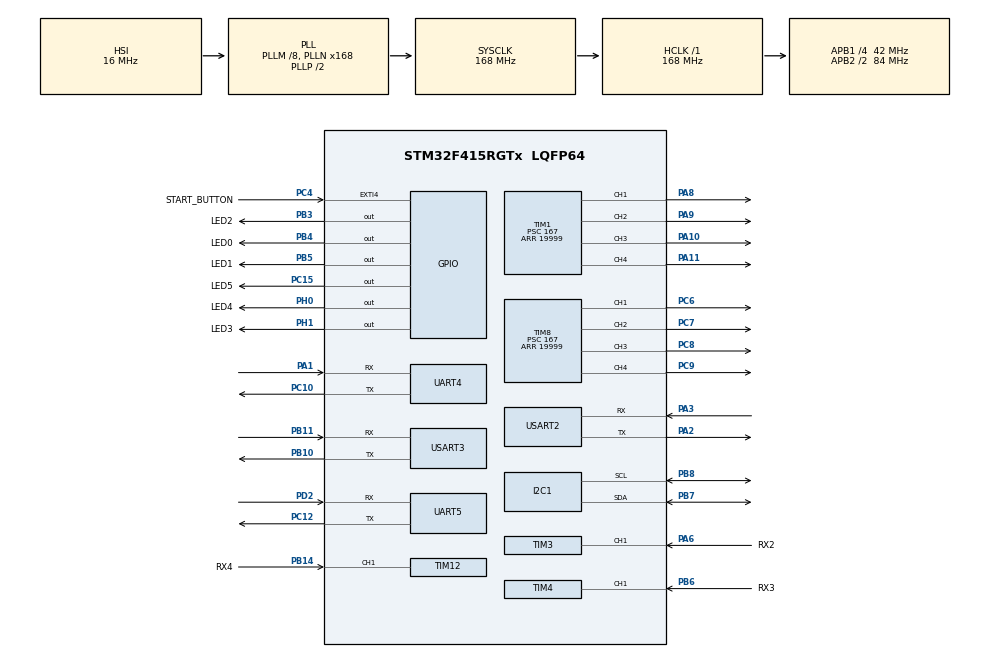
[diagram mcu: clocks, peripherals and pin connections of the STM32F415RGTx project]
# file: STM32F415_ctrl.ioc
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Dma.Request0=USART3_RX
Dma.Request1=USART3_TX
Dma.Request2=UART5_RX
Dma.Request3=UART5_TX
Dma.Request4=UART4_RX
Dma.Request5=UART4_TX
Dma.Request6=USART2_RX
Dma.Request7=USART2_TX
Dma.UART4_RX.4.Direction=DMA_PERIPH_TO_MEMORY
Dma.UART4_RX.4.FIFOMode=DMA_FIFOMODE_DISABLE
Dma.UART4_RX.4.Instance=DMA1_Stream2
Dma.UART4_RX.4.MemDataAlignment=DMA_MDATAALIGN_BYTE
Dma.UART4_RX.4.MemInc=DMA_MINC_ENABLE
Dma.UART4_RX.4.Mode=DMA_CIRCULAR
Dma.UART4_RX.4.PeriphDataAlignment=DMA_PDATAALIGN_BYTE
Dma.UART4_RX.4.PeriphInc=DMA_PINC_DISABLE
Dma.UART4_RX.4.Priority=DMA_PRIORITY_LOW
Dma.UART4_TX.5.Direction=DMA_MEMORY_TO_PERIPH
Dma.UART4_TX.5.FIFOMode=DMA_FIFOMODE_DISABLE
Dma.UART4_TX.5.Instance=DMA1_Stream4
Dma.UART4_TX.5.MemDataAlignment=DMA_MDATAALIGN_BYTE
Dma.UART4_TX.5.MemInc=DMA_MINC_ENABLE
Dma.UART4_TX.5.Mode=DMA_NORMAL
Dma.UART4_TX.5.PeriphDataAlignment=DMA_PDATAALIGN_BYTE
Dma.UART4_TX.5.PeriphInc=DMA_PINC_DISABLE
Dma.UART4_TX.5.Priority=DMA_PRIORITY_LOW
Dma.UART5_RX.2.Direction=DMA_PERIPH_TO_MEMORY
Dma.UART5_RX.2.FIFOMode=DMA_FIFOMODE_DISABLE
Dma.UART5_RX.2.Instance=DMA1_Stream0
Dma.UART5_RX.2.MemDataAlignment=DMA_MDATAALIGN_BYTE
Dma.UART5_RX.2.MemInc=DMA_MINC_ENABLE
Dma.UART5_RX.2.Mode=DMA_NORMAL
Dma.UART5_RX.2.PeriphDataAlignment=DMA_PDATAALIGN_BYTE
Dma.UART5_RX.2.PeriphInc=DMA_PINC_DISABLE
Dma.UART5_RX.2.Priority=DMA_PRIORITY_LOW
Dma.UART5_TX.3.Direction=DMA_MEMORY_TO_PERIPH
Dma.UART5_TX.3.FIFOMode=DMA_FIFOMODE_DISABLE
Dma.UART5_TX.3.Instance=DMA1_Stream7
Dma.UART5_TX.3.MemDataAlignment=DMA_MDATAALIGN_BYTE
Dma.UART5_TX.3.MemInc=DMA_MINC_ENABLE
Dma.UART5_TX.3.Mode=DMA_NORMAL
Dma.UART5_TX.3.PeriphDataAlignment=DMA_PDATAALIGN_BYTE
Dma.UART5_TX.3.PeriphInc=DMA_PINC_DISABLE
Dma.UART5_TX.3.Priority=DMA_PRIORITY_LOW
Dma.USART2_RX.6.Direction=DMA_PERIPH_TO_MEMORY
Dma.USART2_RX.6.FIFOMode=DMA_FIFOMODE_DISABLE
Dma.USART2_RX.6.Instance=DMA1_Stream5
Dma.USART2_RX.6.MemDataAlignment=DMA_MDATAALIGN_BYTE
Dma.USART2_RX.6.MemInc=DMA_MINC_ENABLE
Dma.USART2_RX.6.Mode=DMA_NORMAL
Dma.USART2_RX.6.PeriphDataAlignment=DMA_PDATAALIGN_BYTE
Dma.USART2_RX.6.PeriphInc=DMA_PINC_DISABLE
Dma.USART2_RX.6.Priority=DMA_PRIORITY_LOW
Dma.USART2_TX.7.Direction=DMA_MEMORY_TO_PERIPH
Dma.USART2_TX.7.FIFOMode=DMA_FIFOMODE_DISABLE
Dma.USART2_TX.7.Instance=DMA1_Stream6
Dma.USART2_TX.7.MemDataAlignment=DMA_MDATAALIGN_BYTE
Dma.USART2_TX.7.MemInc=DMA_MINC_ENABLE
Dma.USART2_TX.7.Mode=DMA_NORMAL
Dma.USART2_TX.7.PeriphDataAlignment=DMA_PDATAALIGN_BYTE
Dma.USART2_TX.7.PeriphInc=DMA_PINC_DISABLE
Dma.USART2_TX.7.Priority=DMA_PRIORITY_LOW
Dma.USART3_RX.0.Direction=DMA_PERIPH_TO_MEMORY
Dma.USART3_RX.0.FIFOMode=DMA_FIFOMODE_DISABLE
Dma.USART3_RX.0.Instance=DMA1_Stream1
Dma.USART3_RX.0.MemDataAlignment=DMA_MDATAALIGN_BYTE
Dma.USART3_RX.0.MemInc=DMA_MINC_ENABLE
Dma.USART3_RX.0.Mode=DMA_NORMAL
Dma.USART3_RX.0.PeriphDataAlignment=DMA_PDATAALIGN_BYTE
Dma.USART3_RX.0.PeriphInc=DMA_PINC_DISABLE
Dma.USART3_RX.0.Priority=DMA_PRIORITY_LOW
Dma.USART3_TX.1.Direction=DMA_MEMORY_TO_PERIPH
Dma.USART3_TX.1.FIFOMode=DMA_FIFOMODE_DISABLE
Dma.USART3_TX.1.Instance=DMA1_Stream3
Dma.USART3_TX.1.MemDataAlignment=DMA_MDATAALIGN_BYTE
Dma.USART3_TX.1.MemInc=DMA_MINC_ENABLE
Dma.USART3_TX.1.Mode=DMA_NORMAL
Dma.USART3_TX.1.PeriphDataAlignment=DMA_PDATAALIGN_BYTE
Dma.USART3_TX.1.PeriphInc=DMA_PINC_DISABLE
Dma.USART3_TX.1.Priority=DMA_PRIORITY_LOW
I2C1.I2C_Mode=I2C_Standard
Mcu.Family=STM32F4
Mcu.Name=STM32F415RGTx
Mcu.Package=LQFP64
NVIC.DMA1_Stream0_IRQn=true\:0\:0\:false\:false\:true\:false\:true
NVIC.DMA1_Stream1_IRQn=true\:0\:0\:false\:false\:true\:false\:true
NVIC.DMA1_Stream2_IRQn=true\:0\:0\:false\:false\:true\:false\:true
NVIC.DMA1_Stream3_IRQn=true\:0\:0\:false\:false\:true\:false\:true
NVIC.DMA1_Stream4_IRQn=true\:0\:0\:false\:false\:true\:false\:true
NVIC.DMA1_Stream5_IRQn=true\:0\:0\:false\:false\:true\:false\:true
NVIC.DMA1_Stream6_IRQn=true\:0\:0\:false\:false\:true\:false\:true
NVIC.DMA1_Stream7_IRQn=true\:0\:0\:false\:false\:true\:false\:true
NVIC.EXTI4_IRQn=true\:0\:0\:false\:false\:true\:true\:true
NVIC.PriorityGroup=NVIC_PRIORITYGROUP_4
NVIC.TIM1_BRK_TIM9_IRQn=true\:0\:0\:false\:false\:true\:true\:true
NVIC.TIM3_IRQn=true\:0\:0\:false\:false\:true\:true\:true
NVIC.TIM4_IRQn=true\:0\:0\:false\:false\:true\:true\:true
NVIC.TIM8_BRK_TIM12_IRQn=true\:0\:0\:false\:false\:true\:true\:true
NVIC.UART4_IRQn=true\:0\:0\:false\:false\:true\:true\:true
NVIC.UART5_IRQn=true\:0\:0\:false\:false\:true\:true\:true
NVIC.USART2_IRQn=true\:0\:0\:false\:false\:true\:true\:true
NVIC.USART3_IRQn=true\:0\:0\:false\:false\:true\:true\:true
PA1.Mode=Asynchronous
PA1.Signal=UART4_RX
PA10.Signal=S_TIM1_CH3
PA11.Signal=S_TIM1_CH4
PA13.Mode=Serial_Wire
PA13.Signal=SYS_JTMS-SWDIO
PA14.Mode=Serial_Wire
PA14.Signal=SYS_JTCK-SWCLK
PA2.Mode=Asynchronous
PA2.Signal=USART2_TX
PA3.Mode=Asynchronous
PA3.Signal=USART2_RX
PA6.GPIO_Label=RX2
PA6.Signal=S_TIM3_CH1
PA8.Signal=S_TIM1_CH1
PA9.Signal=S_TIM1_CH2
PB10.Mode=Asynchronous
PB10.Signal=USART3_TX
PB11.Mode=Asynchronous
PB11.Signal=USART3_RX
PB14.GPIO_Label=RX4
PB14.Signal=S_TIM12_CH1
PB3.GPIO_Label=LED2
PB3.GPIO_ModeDefaultOutputPP=GPIO_MODE_OUTPUT_OD
PB3.Signal=GPIO_Output
PB4.GPIO_Label=LED0
PB4.GPIO_ModeDefaultOutputPP=GPIO_MODE_OUTPUT_OD
PB4.Signal=GPIO_Output
PB5.GPIO_Label=LED1
PB5.GPIO_ModeDefaultOutputPP=GPIO_MODE_OUTPUT_OD
PB5.Signal=GPIO_Output
PB6.GPIO_Label=RX3
PB6.GPIO_PuPd=GPIO_PULLUP
PB6.Signal=S_TIM4_CH1
PB7.Mode=I2C
PB7.Signal=I2C1_SDA
PB8.Mode=I2C
PB8.Signal=I2C1_SCL
PC10.Mode=Asynchronous
PC10.Signal=UART4_TX
PC12.Mode=Asynchronous
PC12.Signal=UART5_TX
PC15-OSC32_OUT.GPIO_Label=LED5
PC15-OSC32_OUT.GPIO_ModeDefaultOutputPP=GPIO_MODE_OUTPUT_OD
PC15-OSC32_OUT.Signal=GPIO_Output
PC4.GPIO_Label=START_BUTTON
PC4.GPIO_ModeDefaultEXTI=GPIO_MODE_IT_RISING
PC4.GPIO_PuPd=GPIO_PULLUP
PC4.Signal=GPXTI4
PC6.Signal=S_TIM8_CH1
PC7.Signal=S_TIM8_CH2
PC8.Signal=S_TIM8_CH3
PC9.Signal=S_TIM8_CH4
PD2.Mode=Asynchronous
PD2.Signal=UART5_RX
PH0-OSC_IN.GPIO_Label=LED4
PH0-OSC_IN.GPIO_ModeDefaultOutputPP=GPIO_MODE_OUTPUT_OD
PH0-OSC_IN.Signal=GPIO_Output
PH1-OSC_OUT.GPIO_Label=LED3
PH1-OSC_OUT.GPIO_ModeDefaultOutputPP=GPIO_MODE_OUTPUT_OD
PH1-OSC_OUT.Signal=GPIO_Output
ProjectManager.HeapSize=0x200
ProjectManager.StackSize=0x400
ProjectManager.TargetToolchain=TrueSTUDIO
RCC.48MHZClocksFreq_Value=84000000
RCC.AHBFreq_Value=168000000
RCC.APB1CLKDivider=RCC_HCLK_DIV4
RCC.APB1Freq_Value=42000000
RCC.APB1TimFreq_Value=84000000
RCC.APB2CLKDivider=RCC_HCLK_DIV2
RCC.APB2Freq_Value=84000000
RCC.APB2TimFreq_Value=168000000
RCC.CortexFreq_Value=168000000
RCC.HCLKFreq_Value=168000000
RCC.HSE_VALUE=25000000
RCC.HSI_VALUE=16000000
RCC.LSE_VALUE=32768
RCC.PLLM=8
RCC.PLLN=168
RCC.SYSCLKFreq_VALUE=168000000
RCC.SYSCLKSource=RCC_SYSCLKSOURCE_PLLCLK
RCC.VCOOutputFreq_Value=336000000
SH.S_TIM12_CH1.0=TIM12_CH1,PWM_Input_1
SH.S_TIM1_CH1.0=TIM1_CH1,PWM Generation1 CH1
SH.S_TIM1_CH2.0=TIM1_CH2,PWM Generation2 CH2
SH.S_TIM1_CH3.0=TIM1_CH3,PWM Generation3 CH3
SH.S_TIM1_CH4.0=TIM1_CH4,PWM Generation4 CH4
SH.S_TIM3_CH1.0=TIM3_CH1,PWM_Input_1
SH.S_TIM4_CH1.0=TIM4_CH1,PWM_Input_1
SH.S_TIM8_CH1.0=TIM8_CH1,PWM Generation1 CH1
SH.S_TIM8_CH2.0=TIM8_CH2,PWM Generation2 CH2
SH.S_TIM8_CH3.0=TIM8_CH3,PWM Generation3 CH3
SH.S_TIM8_CH4.0=TIM8_CH4,PWM Generation4 CH4
TIM1.Channel-PWM\ Generation1\ CH1=TIM_CHANNEL_1
TIM1.Channel-PWM\ Generation2\ CH2=TIM_CHANNEL_2
TIM1.Channel-PWM\ Generation3\ CH3=TIM_CHANNEL_3
TIM1.Channel-PWM\ Generation4\ CH4=TIM_CHANNEL_4
TIM1.Period=19999
TIM1.Prescaler=167
TIM1.Pulse-PWM\ Generation1\ CH1=1500
TIM1.Pulse-PWM\ Generation2\ CH2=1500
TIM1.Pulse-PWM\ Generation3\ CH3=1500
TIM1.Pulse-PWM\ Generation4\ CH4=1500
TIM12.ICFilter_1=3
TIM12.ICFilter_2=3
TIM12.Period=0xffff
TIM12.Prescaler=83
TIM3.ICFilter_1=3
TIM3.ICFilter_2=3
TIM3.Period=0xffff
TIM3.Prescaler=83
TIM4.ICFilter_1=3
TIM4.ICFilter_2=3
TIM4.Period=0xffff
TIM4.Prescaler=839
TIM8.Channel-PWM\ Generation1\ CH1=TIM_CHANNEL_1
TIM8.Channel-PWM\ Generation2\ CH2=TIM_CHANNEL_2
TIM8.Channel-PWM\ Generation3\ CH3=TIM_CHANNEL_3
TIM8.Channel-PWM\ Generation4\ CH4=TIM_CHANNEL_4
TIM8.Period=19999
TIM8.Prescaler=167
TIM8.Pulse-PWM\ Generation1\ CH1=1500
TIM8.Pulse-PWM\ Generation2\ CH2=1500
TIM8.Pulse-PWM\ Generation3\ CH3=1500
TIM8.Pulse-PWM\ Generation4\ CH4=1500
UART4.VirtualMode=Asynchronous
UART5.VirtualMode=Asynchronous
USART2.VirtualMode=VM_ASYNC
USART3.VirtualMode=VM_ASYNC
VP_TIM12_VS_ClockSourceINT.Mode=Internal
VP_TIM1_VS_ClockSourceINT.Mode=Internal
VP_TIM3_VS_ClockSourceINT.Mode=Internal
VP_TIM4_VS_ClockSourceINT.Mode=Internal
VP_TIM8_VS_ClockSourceINT.Mode=Internal
board=custom

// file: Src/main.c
/* USER CODE BEGIN Header */
/**
  ******************************************************************************
  * @file           : main.c
  * @brief          : Main program body
  ******************************************************************************
  * @attention
  *
  * <h2><center>&copy; Copyright (c) 2019 STMicroelectronics.
  * All rights reserved.</center></h2>
  *
  * This software component is licensed by ST under BSD 3-Clause license,
  * the "License"; You may not use this file except in compliance with the
  * License. You may obtain a copy of the License at:
  *                        opensource.org/licenses/BSD-3-Clause
  *
  ******************************************************************************
  */

// WIRING INPUT
// SERIAL3 = LiD (UART3, RX only, DMA RX Normal, note : pin TX damaged)
// SERIAL4 = TX&RX from NVIDIA AI (UART4, DMA RX Circular, DMA TX normal)
// SERIAL5 = LiG (UART5, RX only, DMA RX Normal)
// RC1 = n/c
// RC2 = DIR from RX (TIM3 CH1 PWM input capture)
// RC4 = THR from RX (TIM12 CH1 PWM input capture)

// WIRING OUTPUT
// SERVO5 (HW=TIM8 CH1) = THR
// SERVO6 (HW=TIM8 CH2) = DIR
// SERVO7 (HW=TIM8 CH3) = DIR

// MMI
// LED0 (HW=D2)
// LED1 (HW=D1) = MANUAL/AUTO state
// LED2 (HW=D3)
// LED3 (HW=D4)
// LED4 (HW=D5) = AI state
// LED5 (HW=D6) = RC state

/* USER CODE END Header */

#include "main.h"

/* USER CODE BEGIN Includes */
#include "serial.h"
#include "tfminiplus.h"
#include "stdio.h"
#include "string.h"
#include <stdlib.h>     /* atoi */
#include "imu.h"
/* USER CODE END Includes */

I2C_HandleTypeDef hi2c1;

TIM_HandleTypeDef htim1;
TIM_HandleTypeDef htim3;
TIM_HandleTypeDef htim4;
TIM_HandleTypeDef htim8;
TIM_HandleTypeDef htim12;

UART_HandleTypeDef huart4;
UART_HandleTypeDef huart5;
UART_HandleTypeDef huart2;
UART_HandleTypeDef huart3;
DMA_HandleTypeDef hdma_uart4_rx;
DMA_HandleTypeDef hdma_uart4_tx;
DMA_HandleTypeDef hdma_uart5_rx;
DMA_HandleTypeDef hdma_uart5_tx;
DMA_HandleTypeDef hdma_usart2_rx;
DMA_HandleTypeDef hdma_usart2_tx;
DMA_HandleTypeDef hdma_usart3_rx;
DMA_HandleTypeDef hdma_usart3_tx;

/* USER CODE BEGIN PV */
static HAL_Serial_Handler ai_com;
static uint32_t RC1_last_time = 0;
static uint32_t RC1_period = 0;
static uint32_t RC1_duty_cycle = 0;
static uint32_t RC2_last_time = 0;
static uint32_t RC2_period = 0;
static uint32_t RC2_duty_cycle = 0;
static uint32_t RC4_last_time = 0;
static uint32_t RC4_period = 0;
static uint32_t RC4_duty_cycle = 0;
static char com_line[32];
static uint32_t com_position = 0;
static uint32_t com_last_time = 0;
static uint32_t pwm_manual_thr = 1500;
static uint32_t pwm_manual_dir = 1500;
static uint32_t pwm_ai_thr = 1500;
static uint32_t pwm_ai_dir = 1500;
static uint32_t ai_mode = 0; // 0:idle, 1:running
static uint32_t pwm_auto_thr = 1500;
static uint32_t pwm_auto_dir = 1500;
enum {MAIN_STATE_MANUAL, MAIN_STATE_AUTO_REQUEST, MAIN_STATE_AUTO_STARTUP, MAIN_STATE_AUTO };
static uint32_t main_state = MAIN_STATE_MANUAL;
static uint32_t main_state_last = 0;
#define MANUAL_OVERRIDE_TIMEOUT 2000 //ms
enum {RC_STATE_NONE,RC_STATE_OK};
static uint32_t rc_state = RC_STATE_NONE;
#define RC_TIMEOUT 500 //ms
enum {AI_STATE_NONE,AI_STATE_OK};
static uint32_t ai_state = AI_STATE_NONE;
#define AI_TIMEOUT 100 //ms
enum {LIDAR_STATE_NONE,LIDAR_STATE_OK};
static uint32_t lidar_state = LIDAR_STATE_NONE;
#define LIDAR_TIMEOUT 100 //ms
static uint32_t telemetry_stop_and_wait = 0; // stop = 0, query last value = 1
static int32_t lidar_distance_gauche = -1; // cm
static int32_t lidar_distance_droit = -1;
static int32_t lidar_distance_haut = -1;
static int32_t lidar_strength_gauche = -1;
static int32_t lidar_strength_droit = -1;
static int32_t lidar_strength_haut = -1;
static int32_t lidar_temp_gauche = -1;
static int32_t lidar_temp_droit = -1;
static int32_t lidar_temp_haut = -1;
static int32_t vitesse_mesuree = -1;
static int32_t start_countdown = 0;
static int32_t nb_impulsions_aimants = 0;

/* USER CODE END PV */

void SystemClock_Config(void);
static void MX_GPIO_Init(void);
static void MX_DMA_Init(void);
static void MX_TIM1_Init(void);
static void MX_TIM8_Init(void);
static void MX_USART3_UART_Init(void);
static void MX_TIM3_Init(void);
static void MX_UART4_Init(void);
static void MX_UART5_Init(void);
static void MX_TIM12_Init(void);
static void MX_USART2_UART_Init(void);
static void MX_I2C1_Init(void);
static void MX_TIM4_Init(void);
/* USER CODE BEGIN PFP */
void HAL_GPIO_EXTI_Callback(uint16_t GPIO_Pin)
{
	if(GPIO_Pin==START_BUTTON_Pin)
	{
		main_state = MAIN_STATE_AUTO;
		start_countdown = 3;
	}
}

void HAL_TIM_IC_CaptureCallback(TIM_HandleTypeDef *htim) // Callback for PWM input catpure
{
	if(htim==&htim3) // RC2 = DIR from RX
	{
		if (htim->Channel == HAL_TIM_ACTIVE_CHANNEL_1)
		{
			RC2_period = HAL_TIM_ReadCapturedValue(htim, TIM_CHANNEL_1);
			RC2_last_time = HAL_GetTick(); // timestamp last pulse
		}
		else if (htim->Channel == HAL_TIM_ACTIVE_CHANNEL_2)
		{
			RC2_duty_cycle = HAL_TIM_ReadCapturedValue(htim, TIM_CHANNEL_2);
		}
	}
	else if(htim==&htim12) // RC4 = THR from RX
	{
		if (htim->Channel == HAL_TIM_ACTIVE_CHANNEL_1)
		{
			RC1_period = HAL_TIM_ReadCapturedValue(htim, TIM_CHANNEL_1);
			RC1_last_time = HAL_GetTick(); // timestamp last pulse
		}
		else if (htim->Channel == HAL_TIM_ACTIVE_CHANNEL_2)
		{
			RC1_duty_cycle = HAL_TIM_ReadCapturedValue(htim, TIM_CHANNEL_2);
		}
	}
	else if(htim==&htim4) // RC3 = OdomИtrie from RX
	{
		if (htim->Channel == HAL_TIM_ACTIVE_CHANNEL_1)
		{
			nb_impulsions_aimants++;
			RC4_period = HAL_TIM_ReadCapturedValue(htim, TIM_CHANNEL_1);
			RC4_last_time = HAL_GetTick(); // timestamp last pulse
		}
		else if (htim->Channel == HAL_TIM_ACTIVE_CHANNEL_2)
		{
			RC4_duty_cycle = HAL_TIM_ReadCapturedValue(htim, TIM_CHANNEL_2);
		}
	}
}
uint32_t int_to_pwm(uint32_t value)
{
	if(value>=255) value = 255;
	return (uint32_t)( (float)value * 1000.0 / 255.0 + 1000.0 );
}
uint32_t pwm_to_int(uint32_t value)
{
	if(value<=1000) value = 1000;
	if(value>=2000) value = 2000;
	return (uint32_t)( ( (float)value - 1000.0) * 255.0 / 1000.0 );
}
/* USER CODE END PFP */

int main(void)
{

  /* MCU Configuration--------------------------------------------------------*/

  /* Reset of all peripherals, Initializes the Flash interface and the Systick. */
  HAL_Init();

  /* Configure the system clock */
  SystemClock_Config();

  /* Initialize all configured peripherals */
  MX_GPIO_Init();
  MX_DMA_Init();
  MX_TIM1_Init();
  MX_TIM8_Init();
  MX_USART3_UART_Init();
  MX_TIM3_Init();
  MX_UART4_Init();
  MX_UART5_Init();
  MX_TIM12_Init();
  MX_USART2_UART_Init();
  MX_I2C1_Init();
  MX_TIM4_Init();
  /* USER CODE BEGIN 2 */
  HAL_TIM_PWM_Start(&htim1,TIM_CHANNEL_1); // Start PWM outputs
  HAL_TIM_PWM_Start(&htim1,TIM_CHANNEL_2);
  HAL_TIM_PWM_Start(&htim1,TIM_CHANNEL_3);
  HAL_TIM_PWM_Start(&htim1,TIM_CHANNEL_4);
  HAL_TIM_PWM_Start(&htim8,TIM_CHANNEL_1);
  HAL_TIM_PWM_Start(&htim8,TIM_CHANNEL_2);
  HAL_TIM_PWM_Start(&htim8,TIM_CHANNEL_3);
  HAL_TIM_PWM_Start(&htim8,TIM_CHANNEL_4);
  __HAL_TIM_SET_COMPARE(&htim1,TIM_CHANNEL_1,1500); // Set PWM outputs (middle position)
  __HAL_TIM_SET_COMPARE(&htim1,TIM_CHANNEL_2,1500);
  __HAL_TIM_SET_COMPARE(&htim1,TIM_CHANNEL_3,1500);
  __HAL_TIM_SET_COMPARE(&htim1,TIM_CHANNEL_4,1500);
  __HAL_TIM_SET_COMPARE(&htim8,TIM_CHANNEL_1,1500);
  __HAL_TIM_SET_COMPARE(&htim8,TIM_CHANNEL_2,1500);
  __HAL_TIM_SET_COMPARE(&htim8,TIM_CHANNEL_3,1500);
  __HAL_TIM_SET_COMPARE(&htim8,TIM_CHANNEL_4,1500);
  HAL_TIM_IC_Start_IT(&htim3,TIM_CHANNEL_1); // Start PWM inputs (capture)
  HAL_TIM_IC_Start_IT(&htim3,TIM_CHANNEL_2);
  HAL_TIM_IC_Start_IT(&htim12,TIM_CHANNEL_1);
  HAL_TIM_IC_Start_IT(&htim12,TIM_CHANNEL_2);
  HAL_TIM_IC_Start_IT(&htim4,TIM_CHANNEL_1);
  HAL_TIM_IC_Start_IT(&htim4,TIM_CHANNEL_2);
  HAL_Serial_Init(&huart4,&ai_com); // Start com port
  HAL_GPIO_WritePin(LED0_GPIO_Port,LED0_Pin,GPIO_PIN_RESET); // Init LEDs
  HAL_GPIO_WritePin(LED1_GPIO_Port,LED1_Pin,GPIO_PIN_RESET);
  HAL_GPIO_WritePin(LED2_GPIO_Port,LED2_Pin,GPIO_PIN_RESET);
  HAL_GPIO_WritePin(LED3_GPIO_Port,LED3_Pin,GPIO_PIN_RESET);
  HAL_GPIO_WritePin(LED4_GPIO_Port,LED4_Pin,GPIO_PIN_RESET);
  HAL_GPIO_WritePin(LED5_GPIO_Port,LED5_Pin,GPIO_PIN_RESET);
  HAL_Delay(500);
  HAL_GPIO_WritePin(LED0_GPIO_Port,LED0_Pin,GPIO_PIN_SET); // Init LEDs
  HAL_GPIO_WritePin(LED1_GPIO_Port,LED1_Pin,GPIO_PIN_SET);
  HAL_GPIO_WritePin(LED2_GPIO_Port,LED2_Pin,GPIO_PIN_SET);
  HAL_GPIO_WritePin(LED3_GPIO_Port,LED3_Pin,GPIO_PIN_SET);
  HAL_GPIO_WritePin(LED4_GPIO_Port,LED4_Pin,GPIO_PIN_SET);
  HAL_GPIO_WritePin(LED5_GPIO_Port,LED5_Pin,GPIO_PIN_SET);
  tfminiplus_init();   // Initialisation des Lidars
  uint32_t gyro_err = gyro_init();
  uint32_t gyro_last_time = HAL_GetTick();
  /* USER CODE END 2 */

  /* Infinite loop */
  while (1)
  {

    /* USER CODE BEGIN 3 */
	uint32_t current_time = HAL_GetTick();
	switch(rc_state) // RC state machine
	{
	case RC_STATE_NONE: // No RC
		{
			HAL_GPIO_WritePin(LED5_GPIO_Port,LED5_Pin,GPIO_PIN_SET);
			pwm_manual_thr = 1500;
			pwm_manual_dir = 1500;
		    if((RC1_last_time+RC_TIMEOUT>current_time) && (RC2_last_time+RC_TIMEOUT>current_time))
		    {
		    	rc_state = RC_STATE_OK;
		    }
		}
		break;
	case RC_STATE_OK:
		{
			HAL_GPIO_WritePin(LED5_GPIO_Port,LED5_Pin,GPIO_PIN_RESET);
			pwm_manual_thr = RC1_duty_cycle;
			pwm_manual_dir = RC2_duty_cycle;
		    if((RC1_last_time+RC_TIMEOUT<current_time) || (RC2_last_time+RC_TIMEOUT<current_time))
		    {
		    	rc_state = RC_STATE_NONE;
		    }
		}
		break;
	}
    while(HAL_Serial_Available(&ai_com)) // Process ai_com port
	{
    	char c = HAL_Serial_GetChar(&ai_com);
		if(c=='\n' || c=='\r') // eol detection
		{
			if(com_position!=0) // not empty recv buffer
			{
				com_line[com_position]=0; // force eol
			    char *tab_args[50];
			    int num_args;
			    int32_t data;

		        num_args = 0;
		        tab_args[num_args] = strtok(com_line, ";");
		        while(tab_args[num_args] != NULL)
		        {
		            tab_args[++num_args] = strtok(NULL, ";");
		        }
		        // reset inputs data
				pwm_ai_dir = 1500;
				pwm_ai_thr = 1500;
				ai_mode = 0;
				// parse DIRECTION
		        if(num_args>=1)
		        {
					data = 128; // default not line position value from AI
					data = atoi(tab_args[0]); // decode value
					if(data<=255 && data>=0)
					{
						pwm_ai_dir = int_to_pwm(data);
					}
		        }
		        // parse THROTTLE
		        if(num_args>=2)
		        {
					data = 128; // default not speed value from AI
					data = atoi(tab_args[1]); // decode value
					if(data<=255 && data>=0)
					{
						pwm_ai_thr = int_to_pwm(data);
					}
		        }
		        // parse MODE
		        if(num_args>=3)
		        {
					data = 128; // default not speed value from AI
					data = atoi(tab_args[2]); // decode value
					ai_mode = data;
					// AI frame complete, update AI health state and send back telemetry frame
					com_last_time = current_time;
					telemetry_stop_and_wait = 1;
		        }
				com_position = 0; // reset recv buffer
			}
		}
		else // new char
		{
			com_line[com_position]=c;
			if(com_position<31) // handle end of recv buffer
			{
				++com_position;
			}
		}
	}
	switch(ai_state) // AI state machine
	{
	case AI_STATE_NONE: // No RC
		{
			HAL_GPIO_WritePin(LED4_GPIO_Port,LED4_Pin,GPIO_PIN_SET);
			pwm_ai_thr = 1500;
			pwm_ai_dir = 1500;
		    if(com_last_time+AI_TIMEOUT>current_time)
		    {
		    	ai_state = AI_STATE_OK;
		    }
		}
		break;
	case AI_STATE_OK:
		{
			HAL_GPIO_WritePin(LED4_GPIO_Port,LED4_Pin,GPIO_PIN_RESET);
			// values from ai_com process
		    if(com_last_time+AI_TIMEOUT<current_time)
		    {
		    	ai_state = AI_STATE_NONE;
		    }
		}
		break;
	}
	/// Todo : add timestamp to LIDAR last acquisition
	/// Todo : add timestamp to LIDAR last acquisition
	/// Todo : add timestamp to LIDAR last acquisition

	/// Todo : add LIDAR health state machine : no LIDAR ==> no PID WALL following, AUTO mode inhibited
	/// Todo : add LIDAR health state machine : no LIDAR ==> no PID WALL following, AUTO mode inhibited
	/// Todo : add LIDAR health state machine : no LIDAR ==> no PID WALL following, AUTO mode inhibited

	/// Todo : add PID WALL following here
	/// Todo : add PID WALL following here
	/// Todo : add PID WALL following here

	pwm_auto_thr = pwm_ai_thr; // no other source of automatic control, then auto controller use AI
	pwm_auto_dir = pwm_ai_dir;

	if(telemetry_stop_and_wait==1) // TELEMETRY (simple stop & wait protocol)
	{
		telemetry_stop_and_wait=0; // reset stop and wait protocol
		// query last lidar values
		tfminiplus_getLastAcquisition(MINILIDAR_GAUCHE, &lidar_distance_gauche, &lidar_strength_gauche, &lidar_temp_gauche);
		tfminiplus_getLastAcquisition(MINILIDAR_DROIT, &lidar_distance_droit, &lidar_strength_droit, &lidar_temp_droit);
		tfminiplus_getLastAcquisition(MINILIDAR_HAUT, &lidar_distance_haut, &lidar_strength_haut, &lidar_temp_haut);
		// query other sensors
		float duration_s = (float)(current_time-gyro_last_time)/1000.0;
		gyro_last_time = current_time;
		if(vitesse_mesuree == 65535)
			gyro_auto_calibrate(duration_s);
		else
			gyro_update(duration_s);

		// Capteur de vitesse
		// Si nous avons eu une mesure il y a plus de 1 seconde, on renvoie un code d'erreur
		if(RC4_last_time + 650 > HAL_GetTick())
			vitesse_mesuree = RC4_period;
		else
			vitesse_mesuree = 65535;
		// build telemetry frame
		uint32_t telemetry_manual_dir = pwm_to_int(pwm_manual_dir);
		uint32_t telemetry_manual_thr = pwm_to_int(pwm_manual_thr);
		uint32_t telemetry_auto_dir = pwm_to_int(pwm_auto_dir);
		uint32_t telemetry_auto_thr = pwm_to_int(pwm_auto_thr);
		int32_t telemetry_speed = vitesse_mesuree;
		// send telemetry frame
		HAL_Serial_Print(&ai_com, "%d;%d;%d;%d;%d;%d;%d;%d;%d;%d;%d;%d\r\n",
				lidar_distance_gauche,
				lidar_distance_droit,
				lidar_distance_haut,
				telemetry_speed,
				telemetry_manual_dir,
				telemetry_manual_thr,
				telemetry_auto_dir,
				telemetry_auto_thr,
				start_countdown,
				nb_impulsions_aimants,
				(int32_t)gyro_get_dps(),
				(int32_t)gyro_get_heading()

			);
		if(start_countdown>0)
			--start_countdown;
	}
	switch(main_state) // MAIN state machine
	{
	case MAIN_STATE_MANUAL:
		{
			// RC control servo
			__HAL_TIM_SET_COMPARE(&htim8,TIM_CHANNEL_1,pwm_manual_thr); // RC always control THR at the moment
			__HAL_TIM_SET_COMPARE(&htim8,TIM_CHANNEL_2,pwm_manual_dir); // RC control DIR
			__HAL_TIM_SET_COMPARE(&htim8,TIM_CHANNEL_3,pwm_manual_dir); // RC control DIR
			__HAL_TIM_SET_COMPARE(&htim8,TIM_CHANNEL_4,1500);// default servo position
			__HAL_TIM_SET_COMPARE(&htim1,TIM_CHANNEL_1,1500);
			__HAL_TIM_SET_COMPARE(&htim1,TIM_CHANNEL_2,1500);
			__HAL_TIM_SET_COMPARE(&htim1,TIM_CHANNEL_3,1500);
			__HAL_TIM_SET_COMPARE(&htim1,TIM_CHANNEL_4,1500);
			HAL_GPIO_WritePin(LED1_GPIO_Port,LED1_Pin,GPIO_PIN_RESET);

			if( (pwm_manual_dir > 1850) && (pwm_manual_thr > 1450) && (pwm_manual_thr < 1550) ) // activation condition
			{
				main_state_last = current_time;
				main_state = MAIN_STATE_AUTO_REQUEST;
			}
		}
		break;
	case MAIN_STATE_AUTO_REQUEST:
		{
			// RC control servo
			__HAL_TIM_SET_COMPARE(&htim8,TIM_CHANNEL_1,pwm_manual_thr); // RC always control THR at the moment
			__HAL_TIM_SET_COMPARE(&htim8,TIM_CHANNEL_2,pwm_manual_dir); // RC control DIR
			__HAL_TIM_SET_COMPARE(&htim8,TIM_CHANNEL_3,pwm_manual_dir); // RC control DIR
			__HAL_TIM_SET_COMPARE(&htim8,TIM_CHANNEL_4,1500);// default servo position
			__HAL_TIM_SET_COMPARE(&htim1,TIM_CHANNEL_1,1500);
			__HAL_TIM_SET_COMPARE(&htim1,TIM_CHANNEL_2,1500);
			__HAL_TIM_SET_COMPARE(&htim1,TIM_CHANNEL_3,1500);
			__HAL_TIM_SET_COMPARE(&htim1,TIM_CHANNEL_4,1500);
			HAL_GPIO_WritePin(LED1_GPIO_Port,LED1_Pin,GPIO_PIN_RESET);

			if( (pwm_manual_dir > 1850) && (pwm_manual_thr > 1450) && (pwm_manual_thr < 1550) ) // activation condition
			{
				if(main_state_last+MANUAL_OVERRIDE_TIMEOUT<current_time)
				{
					main_state = MAIN_STATE_AUTO_STARTUP;
				}
			}
			else
			{
				main_state = MAIN_STATE_MANUAL;
			}
		}
		break;
	case MAIN_STATE_AUTO_STARTUP:
		{
			// RC control servo
			__HAL_TIM_SET_COMPARE(&htim8,TIM_CHANNEL_1,pwm_manual_thr); // RC always control THR at the moment
			__HAL_TIM_SET_COMPARE(&htim8,TIM_CHANNEL_2,pwm_manual_dir); // RC control DIR
			__HAL_TIM_SET_COMPARE(&htim8,TIM_CHANNEL_3,pwm_manual_dir); // RC control DIR
			__HAL_TIM_SET_COMPARE(&htim8,TIM_CHANNEL_4,1500);// default servo position
			__HAL_TIM_SET_COMPARE(&htim1,TIM_CHANNEL_1,1500);
			__HAL_TIM_SET_COMPARE(&htim1,TIM_CHANNEL_2,1500);
			__HAL_TIM_SET_COMPARE(&htim1,TIM_CHANNEL_3,1500);
			__HAL_TIM_SET_COMPARE(&htim1,TIM_CHANNEL_4,1500);
			HAL_GPIO_WritePin(LED1_GPIO_Port,LED1_Pin,GPIO_PIN_SET);

			if( (pwm_manual_dir > 1450) && (pwm_manual_dir < 1550) && (pwm_manual_thr > 1450) && (pwm_manual_thr < 1550) ) // activation condition
			{
					main_state = MAIN_STATE_AUTO;
			}
		}
		break;
	case MAIN_STATE_AUTO:
		{
//			// AI control servo
//			if(ai_mode==0)
//				__HAL_TIM_SET_COMPARE(&htim8,TIM_CHANNEL_1,pwm_manual_thr); // RC control THR when AUTO mode and IA halted
//			else if(ai_mode==1)
//				__HAL_TIM_SET_COMPARE(&htim8,TIM_CHANNEL_1,pwm_auto_thr); // AI control THR in AUTO mode and IA running
//			else // default manual
//				__HAL_TIM_SET_COMPARE(&htim8,TIM_CHANNEL_1,pwm_manual_thr);
			__HAL_TIM_SET_COMPARE(&htim8,TIM_CHANNEL_1,pwm_auto_thr);
			__HAL_TIM_SET_COMPARE(&htim8,TIM_CHANNEL_2,pwm_auto_dir); // AI control DIR
			__HAL_TIM_SET_COMPARE(&htim8,TIM_CHANNEL_3,pwm_auto_dir); // AI control DIR
			__HAL_TIM_SET_COMPARE(&htim8,TIM_CHANNEL_4,1500);// default servo position
			__HAL_TIM_SET_COMPARE(&htim1,TIM_CHANNEL_1,1500);
			__HAL_TIM_SET_COMPARE(&htim1,TIM_CHANNEL_2,1500);
			__HAL_TIM_SET_COMPARE(&htim1,TIM_CHANNEL_3,1500);
			__HAL_TIM_SET_COMPARE(&htim1,TIM_CHANNEL_4,1500);
			HAL_GPIO_WritePin(LED1_GPIO_Port,LED1_Pin,GPIO_PIN_SET);
			if( (pwm_manual_dir > 1650) || (pwm_manual_dir < 1350) || (pwm_manual_thr < 1350) ) // go back to MANUAL mode when DIR stick touched, when THR stick on brake/backward position
			{
				main_state = MAIN_STATE_MANUAL;
			}
		}
		break;
	}
	HAL_Delay(1);
  }
  /* USER CODE END 3 */
}

void SystemClock_Config(void)
{
  RCC_OscInitTypeDef RCC_OscInitStruct = {0};
  RCC_ClkInitTypeDef RCC_ClkInitStruct = {0};

  /** Configure the main internal regulator output voltage
  */
  __HAL_RCC_PWR_CLK_ENABLE();
  __HAL_PWR_VOLTAGESCALING_CONFIG(PWR_REGULATOR_VOLTAGE_SCALE1);
  /** Initializes the CPU, AHB and APB busses clocks
  */
  RCC_OscInitStruct.OscillatorType = RCC_OSCILLATORTYPE_HSI;
  RCC_OscInitStruct.HSIState = RCC_HSI_ON;
  RCC_OscInitStruct.HSICalibrationValue = RCC_HSICALIBRATION_DEFAULT;
  RCC_OscInitStruct.PLL.PLLState = RCC_PLL_ON;
  RCC_OscInitStruct.PLL.PLLSource = RCC_PLLSOURCE_HSI;
  RCC_OscInitStruct.PLL.PLLM = 8;
  RCC_OscInitStruct.PLL.PLLN = 168;
  RCC_OscInitStruct.PLL.PLLP = RCC_PLLP_DIV2;
  RCC_OscInitStruct.PLL.PLLQ = 4;
  if (HAL_RCC_OscConfig(&RCC_OscInitStruct) != HAL_OK)
  {
    Error_Handler();
  }
  /** Initializes the CPU, AHB and APB busses clocks
  */
  RCC_ClkInitStruct.ClockType = RCC_CLOCKTYPE_HCLK|RCC_CLOCKTYPE_SYSCLK
                              |RCC_CLOCKTYPE_PCLK1|RCC_CLOCKTYPE_PCLK2;
  RCC_ClkInitStruct.SYSCLKSource = RCC_SYSCLKSOURCE_PLLCLK;
  RCC_ClkInitStruct.AHBCLKDivider = RCC_SYSCLK_DIV1;
  RCC_ClkInitStruct.APB1CLKDivider = RCC_HCLK_DIV4;
  RCC_ClkInitStruct.APB2CLKDivider = RCC_HCLK_DIV2;

  if (HAL_RCC_ClockConfig(&RCC_ClkInitStruct, FLASH_LATENCY_5) != HAL_OK)
  {
    Error_Handler();
  }
}

static void MX_I2C1_Init(void)
{

  hi2c1.Instance = I2C1;
  hi2c1.Init.ClockSpeed = 100000;
  hi2c1.Init.DutyCycle = I2C_DUTYCYCLE_2;
  hi2c1.Init.OwnAddress1 = 0;
  hi2c1.Init.AddressingMode = I2C_ADDRESSINGMODE_7BIT;
  hi2c1.Init.DualAddressMode = I2C_DUALADDRESS_DISABLE;
  hi2c1.Init.OwnAddress2 = 0;
  hi2c1.Init.GeneralCallMode = I2C_GENERALCALL_DISABLE;
  hi2c1.Init.NoStretchMode = I2C_NOSTRETCH_DISABLE;
  if (HAL_I2C_Init(&hi2c1) != HAL_OK)
  {
    Error_Handler();
  }

}

static void MX_TIM1_Init(void)
{

  TIM_ClockConfigTypeDef sClockSourceConfig = {0};
  TIM_MasterConfigTypeDef sMasterConfig = {0};
  TIM_OC_InitTypeDef sConfigOC = {0};
  TIM_BreakDeadTimeConfigTypeDef sBreakDeadTimeConfig = {0};

  htim1.Instance = TIM1;
  htim1.Init.Prescaler = 167;
  htim1.Init.CounterMode = TIM_COUNTERMODE_UP;
  htim1.Init.Period = 19999;
  htim1.Init.ClockDivision = TIM_CLOCKDIVISION_DIV1;
  htim1.Init.RepetitionCounter = 0;
  htim1.Init.AutoReloadPreload = TIM_AUTORELOAD_PRELOAD_DISABLE;
  if (HAL_TIM_Base_Init(&htim1) != HAL_OK)
  {
    Error_Handler();
  }
  sClockSourceConfig.ClockSource = TIM_CLOCKSOURCE_INTERNAL;
  if (HAL_TIM_ConfigClockSource(&htim1, &sClockSourceConfig) != HAL_OK)
  {
    Error_Handler();
  }
  if (HAL_TIM_PWM_Init(&htim1) != HAL_OK)
  {
    Error_Handler();
  }
  sMasterConfig.MasterOutputTrigger = TIM_TRGO_RESET;
  sMasterConfig.MasterSlaveMode = TIM_MASTERSLAVEMODE_DISABLE;
  if (HAL_TIMEx_MasterConfigSynchronization(&htim1, &sMasterConfig) != HAL_OK)
  {
    Error_Handler();
  }
  sConfigOC.OCMode = TIM_OCMODE_PWM1;
  sConfigOC.Pulse = 1500;
  sConfigOC.OCPolarity = TIM_OCPOLARITY_HIGH;
  sConfigOC.OCNPolarity = TIM_OCNPOLARITY_HIGH;
  sConfigOC.OCFastMode = TIM_OCFAST_DISABLE;
  sConfigOC.OCIdleState = TIM_OCIDLESTATE_RESET;
  sConfigOC.OCNIdleState = TIM_OCNIDLESTATE_RESET;
  if (HAL_TIM_PWM_ConfigChannel(&htim1, &sConfigOC, TIM_CHANNEL_1) != HAL_OK)
  {
    Error_Handler();
  }
  if (HAL_TIM_PWM_ConfigChannel(&htim1, &sConfigOC, TIM_CHANNEL_2) != HAL_OK)
  {
    Error_Handler();
  }
  if (HAL_TIM_PWM_ConfigChannel(&htim1, &sConfigOC, TIM_CHANNEL_3) != HAL_OK)
  {
    Error_Handler();
  }
  if (HAL_TIM_PWM_ConfigChannel(&htim1, &sConfigOC, TIM_CHANNEL_4) != HAL_OK)
  {
    Error_Handler();
  }
  sBreakDeadTimeConfig.OffStateRunMode = TIM_OSSR_DISABLE;
  sBreakDeadTimeConfig.OffStateIDLEMode = TIM_OSSI_DISABLE;
  sBreakDeadTimeConfig.LockLevel = TIM_LOCKLEVEL_OFF;
  sBreakDeadTimeConfig.DeadTime = 0;
  sBreakDeadTimeConfig.BreakState = TIM_BREAK_DISABLE;
  sBreakDeadTimeConfig.BreakPolarity = TIM_BREAKPOLARITY_HIGH;
  sBreakDeadTimeConfig.AutomaticOutput = TIM_AUTOMATICOUTPUT_DISABLE;
  if (HAL_TIMEx_ConfigBreakDeadTime(&htim1, &sBreakDeadTimeConfig) != HAL_OK)
  {
    Error_Handler();
  }
  HAL_TIM_MspPostInit(&htim1);

}

static void MX_TIM3_Init(void)
{

  TIM_ClockConfigTypeDef sClockSourceConfig = {0};
  TIM_SlaveConfigTypeDef sSlaveConfig = {0};
  TIM_IC_InitTypeDef sConfigIC = {0};
  TIM_MasterConfigTypeDef sMasterConfig = {0};

  htim3.Instance = TIM3;
  htim3.Init.Prescaler = 83;
  htim3.Init.CounterMode = TIM_COUNTERMODE_UP;
  htim3.Init.Period = 0xffff;
  htim3.Init.ClockDivision = TIM_CLOCKDIVISION_DIV1;
  htim3.Init.AutoReloadPreload = TIM_AUTORELOAD_PRELOAD_DISABLE;
  if (HAL_TIM_Base_Init(&htim3) != HAL_OK)
  {
    Error_Handler();
  }
  sClockSourceConfig.ClockSource = TIM_CLOCKSOURCE_INTERNAL;
  if (HAL_TIM_ConfigClockSource(&htim3, &sClockSourceConfig) != HAL_OK)
  {
    Error_Handler();
  }
  if (HAL_TIM_IC_Init(&htim3) != HAL_OK)
  {
    Error_Handler();
  }
  sSlaveConfig.SlaveMode = TIM_SLAVEMODE_RESET;
  sSlaveConfig.InputTrigger = TIM_TS_TI1FP1;
  sSlaveConfig.TriggerPolarity = TIM_INPUTCHANNELPOLARITY_RISING;
  sSlaveConfig.TriggerPrescaler = TIM_ICPSC_DIV1;
  sSlaveConfig.TriggerFilter = 3;
  if (HAL_TIM_SlaveConfigSynchro(&htim3, &sSlaveConfig) != HAL_OK)
  {
    Error_Handler();
  }
  sConfigIC.ICPolarity = TIM_INPUTCHANNELPOLARITY_RISING;
  sConfigIC.ICSelection = TIM_ICSELECTION_DIRECTTI;
  sConfigIC.ICPrescaler = TIM_ICPSC_DIV1;
  sConfigIC.ICFilter = 3;
  if (HAL_TIM_IC_ConfigChannel(&htim3, &sConfigIC, TIM_CHANNEL_1) != HAL_OK)
  {
    Error_Handler();
  }
  sConfigIC.ICPolarity = TIM_INPUTCHANNELPOLARITY_FALLING;
  sConfigIC.ICSelection = TIM_ICSELECTION_INDIRECTTI;
  if (HAL_TIM_IC_ConfigChannel(&htim3, &sConfigIC, TIM_CHANNEL_2) != HAL_OK)
  {
    Error_Handler();
  }
  sMasterConfig.MasterOutputTrigger = TIM_TRGO_RESET;
  sMasterConfig.MasterSlaveMode = TIM_MASTERSLAVEMODE_DISABLE;
  if (HAL_TIMEx_MasterConfigSynchronization(&htim3, &sMasterConfig) != HAL_OK)
  {
    Error_Handler();
  }

}

static void MX_TIM4_Init(void)
{

  TIM_ClockConfigTypeDef sClockSourceConfig = {0};
  TIM_SlaveConfigTypeDef sSlaveConfig = {0};
  TIM_IC_InitTypeDef sConfigIC = {0};
  TIM_MasterConfigTypeDef sMasterConfig = {0};

  htim4.Instance = TIM4;
  htim4.Init.Prescaler = 839;
  htim4.Init.CounterMode = TIM_COUNTERMODE_UP;
  htim4.Init.Period = 0xffff;
  htim4.Init.ClockDivision = TIM_CLOCKDIVISION_DIV1;
  htim4.Init.AutoReloadPreload = TIM_AUTORELOAD_PRELOAD_DISABLE;
  if (HAL_TIM_Base_Init(&htim4) != HAL_OK)
  {
    Error_Handler();
  }
  sClockSourceConfig.ClockSource = TIM_CLOCKSOURCE_INTERNAL;
  if (HAL_TIM_ConfigClockSource(&htim4, &sClockSourceConfig) != HAL_OK)
  {
    Error_Handler();
  }
  if (HAL_TIM_IC_Init(&htim4) != HAL_OK)
  {
    Error_Handler();
  }
  sSlaveConfig.SlaveMode = TIM_SLAVEMODE_RESET;
  sSlaveConfig.InputTrigger = TIM_TS_TI1FP1;
  sSlaveConfig.TriggerPolarity = TIM_INPUTCHANNELPOLARITY_RISING;
  sSlaveConfig.TriggerPrescaler = TIM_ICPSC_DIV1;
  sSlaveConfig.TriggerFilter = 3;
  if (HAL_TIM_SlaveConfigSynchro(&htim4, &sSlaveConfig) != HAL_OK)
  {
    Error_Handler();
  }
  sConfigIC.ICPolarity = TIM_INPUTCHANNELPOLARITY_RISING;
  sConfigIC.ICSelection = TIM_ICSELECTION_DIRECTTI;
  sConfigIC.ICPrescaler = TIM_ICPSC_DIV1;
  sConfigIC.ICFilter = 3;
  if (HAL_TIM_IC_ConfigChannel(&htim4, &sConfigIC, TIM_CHANNEL_1) != HAL_OK)
  {
    Error_Handler();
  }
  sConfigIC.ICPolarity = TIM_INPUTCHANNELPOLARITY_FALLING;
  sConfigIC.ICSelection = TIM_ICSELECTION_INDIRECTTI;
  if (HAL_TIM_IC_ConfigChannel(&htim4, &sConfigIC, TIM_CHANNEL_2) != HAL_OK)
  {
    Error_Handler();
  }
  sMasterConfig.MasterOutputTrigger = TIM_TRGO_RESET;
  sMasterConfig.MasterSlaveMode = TIM_MASTERSLAVEMODE_DISABLE;
  if (HAL_TIMEx_MasterConfigSynchronization(&htim4, &sMasterConfig) != HAL_OK)
  {
    Error_Handler();
  }

}

static void MX_TIM8_Init(void)
{

  TIM_ClockConfigTypeDef sClockSourceConfig = {0};
  TIM_MasterConfigTypeDef sMasterConfig = {0};
  TIM_OC_InitTypeDef sConfigOC = {0};
  TIM_BreakDeadTimeConfigTypeDef sBreakDeadTimeConfig = {0};

  htim8.Instance = TIM8;
  htim8.Init.Prescaler = 167;
  htim8.Init.CounterMode = TIM_COUNTERMODE_UP;
  htim8.Init.Period = 19999;
  htim8.Init.ClockDivision = TIM_CLOCKDIVISION_DIV1;
  htim8.Init.RepetitionCounter = 0;
  htim8.Init.AutoReloadPreload = TIM_AUTORELOAD_PRELOAD_DISABLE;
  if (HAL_TIM_Base_Init(&htim8) != HAL_OK)
  {
    Error_Handler();
  }
  sClockSourceConfig.ClockSource = TIM_CLOCKSOURCE_INTERNAL;
  if (HAL_TIM_ConfigClockSource(&htim8, &sClockSourceConfig) != HAL_OK)
  {
    Error_Handler();
  }
  if (HAL_TIM_PWM_Init(&htim8) != HAL_OK)
  {
    Error_Handler();
  }
  sMasterConfig.MasterOutputTrigger = TIM_TRGO_RESET;
  sMasterConfig.MasterSlaveMode = TIM_MASTERSLAVEMODE_DISABLE;
  if (HAL_TIMEx_MasterConfigSynchronization(&htim8, &sMasterConfig) != HAL_OK)
  {
    Error_Handler();
  }
  sConfigOC.OCMode = TIM_OCMODE_PWM1;
  sConfigOC.Pulse = 1500;
  sConfigOC.OCPolarity = TIM_OCPOLARITY_HIGH;
  sConfigOC.OCNPolarity = TIM_OCNPOLARITY_HIGH;
  sConfigOC.OCFastMode = TIM_OCFAST_DISABLE;
  sConfigOC.OCIdleState = TIM_OCIDLESTATE_RESET;
  sConfigOC.OCNIdleState = TIM_OCNIDLESTATE_RESET;
  if (HAL_TIM_PWM_ConfigChannel(&htim8, &sConfigOC, TIM_CHANNEL_1) != HAL_OK)
  {
    Error_Handler();
  }
  if (HAL_TIM_PWM_ConfigChannel(&htim8, &sConfigOC, TIM_CHANNEL_2) != HAL_OK)
  {
    Error_Handler();
  }
  if (HAL_TIM_PWM_ConfigChannel(&htim8, &sConfigOC, TIM_CHANNEL_3) != HAL_OK)
  {
    Error_Handler();
  }
  if (HAL_TIM_PWM_ConfigChannel(&htim8, &sConfigOC, TIM_CHANNEL_4) != HAL_OK)
  {
    Error_Handler();
  }
  sBreakDeadTimeConfig.OffStateRunMode = TIM_OSSR_DISABLE;
  sBreakDeadTimeConfig.OffStateIDLEMode = TIM_OSSI_DISABLE;
  sBreakDeadTimeConfig.LockLevel = TIM_LOCKLEVEL_OFF;
  sBreakDeadTimeConfig.DeadTime = 0;
  sBreakDeadTimeConfig.BreakState = TIM_BREAK_DISABLE;
  sBreakDeadTimeConfig.BreakPolarity = TIM_BREAKPOLARITY_HIGH;
  sBreakDeadTimeConfig.AutomaticOutput = TIM_AUTOMATICOUTPUT_DISABLE;
  if (HAL_TIMEx_ConfigBreakDeadTime(&htim8, &sBreakDeadTimeConfig) != HAL_OK)
  {
    Error_Handler();
  }
  HAL_TIM_MspPostInit(&htim8);

}

static void MX_TIM12_Init(void)
{

  TIM_ClockConfigTypeDef sClockSourceConfig = {0};
  TIM_SlaveConfigTypeDef sSlaveConfig = {0};
  TIM_IC_InitTypeDef sConfigIC = {0};

  htim12.Instance = TIM12;
  htim12.Init.Prescaler = 83;
  htim12.Init.CounterMode = TIM_COUNTERMODE_UP;
  htim12.Init.Period = 0xffff;
  htim12.Init.ClockDivision = TIM_CLOCKDIVISION_DIV1;
  htim12.Init.AutoReloadPreload = TIM_AUTORELOAD_PRELOAD_DISABLE;
  if (HAL_TIM_Base_Init(&htim12) != HAL_OK)
  {
    Error_Handler();
  }
  sClockSourceConfig.ClockSource = TIM_CLOCKSOURCE_INTERNAL;
  if (HAL_TIM_ConfigClockSource(&htim12, &sClockSourceConfig) != HAL_OK)
  {
    Error_Handler();
  }
  if (HAL_TIM_IC_Init(&htim12) != HAL_OK)
  {
    Error_Handler();
  }
  sSlaveConfig.SlaveMode = TIM_SLAVEMODE_RESET;
  sSlaveConfig.InputTrigger = TIM_TS_TI1FP1;
  sSlaveConfig.TriggerPolarity = TIM_INPUTCHANNELPOLARITY_RISING;
  sSlaveConfig.TriggerPrescaler = TIM_ICPSC_DIV1;
  sSlaveConfig.TriggerFilter = 3;
  if (HAL_TIM_SlaveConfigSynchro(&htim12, &sSlaveConfig) != HAL_OK)
  {
    Error_Handler();
  }
  sConfigIC.ICPolarity = TIM_INPUTCHANNELPOLARITY_RISING;
  sConfigIC.ICSelection = TIM_ICSELECTION_DIRECTTI;
  sConfigIC.ICPrescaler = TIM_ICPSC_DIV1;
  sConfigIC.ICFilter = 3;
  if (HAL_TIM_IC_ConfigChannel(&htim12, &sConfigIC, TIM_CHANNEL_1) != HAL_OK)
  {
    Error_Handler();
  }
  sConfigIC.ICPolarity = TIM_INPUTCHANNELPOLARITY_FALLING;
  sConfigIC.ICSelection = TIM_ICSELECTION_INDIRECTTI;
  if (HAL_TIM_IC_ConfigChannel(&htim12, &sConfigIC, TIM_CHANNEL_2) != HAL_OK)
  {
    Error_Handler();
  }

}

static void MX_UART4_Init(void)
{

  huart4.Instance = UART4;
  huart4.Init.BaudRate = 115200;
  huart4.Init.WordLength = UART_WORDLENGTH_8B;
  huart4.Init.StopBits = UART_STOPBITS_1;
  huart4.Init.Parity = UART_PARITY_NONE;
  huart4.Init.Mode = UART_MODE_TX_RX;
  huart4.Init.HwFlowCtl = UART_HWCONTROL_NONE;
  huart4.Init.OverSampling = UART_OVERSAMPLING_16;
  if (HAL_UART_Init(&huart4) != HAL_OK)
  {
    Error_Handler();
  }

}

static void MX_UART5_Init(void)
{

  huart5.Instance = UART5;
  huart5.Init.BaudRate = 115200;
  huart5.Init.WordLength = UART_WORDLENGTH_8B;
  huart5.Init.StopBits = UART_STOPBITS_1;
  huart5.Init.Parity = UART_PARITY_NONE;
  huart5.Init.Mode = UART_MODE_TX_RX;
  huart5.Init.HwFlowCtl = UART_HWCONTROL_NONE;
  huart5.Init.OverSampling = UART_OVERSAMPLING_16;
  if (HAL_UART_Init(&huart5) != HAL_OK)
  {
    Error_Handler();
  }

}

static void MX_USART2_UART_Init(void)
{

  huart2.Instance = USART2;
  huart2.Init.BaudRate = 115200;
  huart2.Init.WordLength = UART_WORDLENGTH_8B;
  huart2.Init.StopBits = UART_STOPBITS_1;
  huart2.Init.Parity = UART_PARITY_NONE;
  huart2.Init.Mode = UART_MODE_TX_RX;
  huart2.Init.HwFlowCtl = UART_HWCONTROL_NONE;
  huart2.Init.OverSampling = UART_OVERSAMPLING_16;
  if (HAL_UART_Init(&huart2) != HAL_OK)
  {
    Error_Handler();
  }

}

static void MX_USART3_UART_Init(void)
{

  huart3.Instance = USART3;
  huart3.Init.BaudRate = 115200;
  huart3.Init.WordLength = UART_WORDLENGTH_8B;
  huart3.Init.StopBits = UART_STOPBITS_1;
  huart3.Init.Parity = UART_PARITY_NONE;
  huart3.Init.Mode = UART_MODE_TX_RX;
  huart3.Init.HwFlowCtl = UART_HWCONTROL_NONE;
  huart3.Init.OverSampling = UART_OVERSAMPLING_16;
  if (HAL_UART_Init(&huart3) != HAL_OK)
  {
    Error_Handler();
  }

}

static void MX_DMA_Init(void)
{

  /* DMA controller clock enable */
  __HAL_RCC_DMA1_CLK_ENABLE();

  /* DMA interrupt init */
  /* DMA1_Stream0_IRQn interrupt configuration */
  HAL_NVIC_SetPriority(DMA1_Stream0_IRQn, 0, 0);
  HAL_NVIC_EnableIRQ(DMA1_Stream0_IRQn);
  /* DMA1_Stream1_IRQn interrupt configuration */
  HAL_NVIC_SetPriority(DMA1_Stream1_IRQn, 0, 0);
  HAL_NVIC_EnableIRQ(DMA1_Stream1_IRQn);
  /* DMA1_Stream2_IRQn interrupt configuration */
  HAL_NVIC_SetPriority(DMA1_Stream2_IRQn, 0, 0);
  HAL_NVIC_EnableIRQ(DMA1_Stream2_IRQn);
  /* DMA1_Stream3_IRQn interrupt configuration */
  HAL_NVIC_SetPriority(DMA1_Stream3_IRQn, 0, 0);
  HAL_NVIC_EnableIRQ(DMA1_Stream3_IRQn);
  /* DMA1_Stream4_IRQn interrupt configuration */
  HAL_NVIC_SetPriority(DMA1_Stream4_IRQn, 0, 0);
  HAL_NVIC_EnableIRQ(DMA1_Stream4_IRQn);
  /* DMA1_Stream5_IRQn interrupt configuration */
  HAL_NVIC_SetPriority(DMA1_Stream5_IRQn, 0, 0);
  HAL_NVIC_EnableIRQ(DMA1_Stream5_IRQn);
  /* DMA1_Stream6_IRQn interrupt configuration */
  HAL_NVIC_SetPriority(DMA1_Stream6_IRQn, 0, 0);
  HAL_NVIC_EnableIRQ(DMA1_Stream6_IRQn);
  /* DMA1_Stream7_IRQn interrupt configuration */
  HAL_NVIC_SetPriority(DMA1_Stream7_IRQn, 0, 0);
  HAL_NVIC_EnableIRQ(DMA1_Stream7_IRQn);

}

static void MX_GPIO_Init(void)
{
  GPIO_InitTypeDef GPIO_InitStruct = {0};

  /* GPIO Ports Clock Enable */
  __HAL_RCC_GPIOC_CLK_ENABLE();
  __HAL_RCC_GPIOH_CLK_ENABLE();
  __HAL_RCC_GPIOA_CLK_ENABLE();
  __HAL_RCC_GPIOB_CLK_ENABLE();
  __HAL_RCC_GPIOD_CLK_ENABLE();

  /*Configure GPIO pin Output Level */
  HAL_GPIO_WritePin(LED5_GPIO_Port, LED5_Pin, GPIO_PIN_RESET);

  /*Configure GPIO pin Output Level */
  HAL_GPIO_WritePin(GPIOH, LED4_Pin|LED3_Pin, GPIO_PIN_RESET);

  /*Configure GPIO pin Output Level */
  HAL_GPIO_WritePin(GPIOB, LED2_Pin|LED0_Pin|LED1_Pin, GPIO_PIN_RESET);

  /*Configure GPIO pin : LED5_Pin */
  GPIO_InitStruct.Pin = LED5_Pin;
  GPIO_InitStruct.Mode = GPIO_MODE_OUTPUT_OD;
  GPIO_InitStruct.Pull = GPIO_NOPULL;
  GPIO_InitStruct.Speed = GPIO_SPEED_FREQ_LOW;
  HAL_GPIO_Init(LED5_GPIO_Port, &GPIO_InitStruct);

  /*Configure GPIO pins : LED4_Pin LED3_Pin */
  GPIO_InitStruct.Pin = LED4_Pin|LED3_Pin;
  GPIO_InitStruct.Mode = GPIO_MODE_OUTPUT_OD;
  GPIO_InitStruct.Pull = GPIO_NOPULL;
  GPIO_InitStruct.Speed = GPIO_SPEED_FREQ_LOW;
  HAL_GPIO_Init(GPIOH, &GPIO_InitStruct);

  /*Configure GPIO pin : START_BUTTON_Pin */
  GPIO_InitStruct.Pin = START_BUTTON_Pin;
  GPIO_InitStruct.Mode = GPIO_MODE_IT_RISING;
  GPIO_InitStruct.Pull = GPIO_PULLUP;
  HAL_GPIO_Init(START_BUTTON_GPIO_Port, &GPIO_InitStruct);

  /*Configure GPIO pins : LED2_Pin LED0_Pin LED1_Pin */
  GPIO_InitStruct.Pin = LED2_Pin|LED0_Pin|LED1_Pin;
  GPIO_InitStruct.Mode = GPIO_MODE_OUTPUT_OD;
  GPIO_InitStruct.Pull = GPIO_NOPULL;
  GPIO_InitStruct.Speed = GPIO_SPEED_FREQ_LOW;
  HAL_GPIO_Init(GPIOB, &GPIO_InitStruct);

  /* EXTI interrupt init*/
  HAL_NVIC_SetPriority(EXTI4_IRQn, 0, 0);
  HAL_NVIC_EnableIRQ(EXTI4_IRQn);

}

void Error_Handler(void)
{
}

/************************ (C) COPYRIGHT STMicroelectronics *****END OF FILE****/
